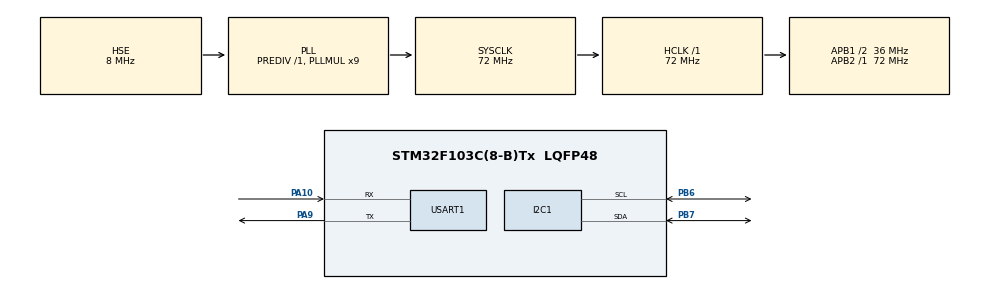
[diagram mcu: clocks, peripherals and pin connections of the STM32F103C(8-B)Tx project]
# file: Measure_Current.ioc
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Dma.I2C1_RX.0.Direction=DMA_PERIPH_TO_MEMORY
Dma.I2C1_RX.0.Instance=DMA1_Channel7
Dma.I2C1_RX.0.MemDataAlignment=DMA_MDATAALIGN_BYTE
Dma.I2C1_RX.0.MemInc=DMA_MINC_ENABLE
Dma.I2C1_RX.0.Mode=DMA_NORMAL
Dma.I2C1_RX.0.PeriphDataAlignment=DMA_PDATAALIGN_BYTE
Dma.I2C1_RX.0.PeriphInc=DMA_PINC_DISABLE
Dma.I2C1_RX.0.Priority=DMA_PRIORITY_LOW
Dma.I2C1_TX.1.Direction=DMA_MEMORY_TO_PERIPH
Dma.I2C1_TX.1.Instance=DMA1_Channel6
Dma.I2C1_TX.1.MemDataAlignment=DMA_MDATAALIGN_BYTE
Dma.I2C1_TX.1.MemInc=DMA_MINC_ENABLE
Dma.I2C1_TX.1.Mode=DMA_NORMAL
Dma.I2C1_TX.1.PeriphDataAlignment=DMA_PDATAALIGN_BYTE
Dma.I2C1_TX.1.PeriphInc=DMA_PINC_DISABLE
Dma.I2C1_TX.1.Priority=DMA_PRIORITY_LOW
Dma.Request0=I2C1_RX
Dma.Request1=I2C1_TX
Dma.Request2=USART1_TX
Dma.Request3=USART1_RX
Dma.USART1_RX.3.Direction=DMA_PERIPH_TO_MEMORY
Dma.USART1_RX.3.Instance=DMA1_Channel5
Dma.USART1_RX.3.MemDataAlignment=DMA_MDATAALIGN_BYTE
Dma.USART1_RX.3.MemInc=DMA_MINC_ENABLE
Dma.USART1_RX.3.Mode=DMA_NORMAL
Dma.USART1_RX.3.PeriphDataAlignment=DMA_PDATAALIGN_BYTE
Dma.USART1_RX.3.PeriphInc=DMA_PINC_DISABLE
Dma.USART1_RX.3.Priority=DMA_PRIORITY_LOW
Dma.USART1_TX.2.Direction=DMA_MEMORY_TO_PERIPH
Dma.USART1_TX.2.Instance=DMA1_Channel4
Dma.USART1_TX.2.MemDataAlignment=DMA_MDATAALIGN_BYTE
Dma.USART1_TX.2.MemInc=DMA_MINC_ENABLE
Dma.USART1_TX.2.Mode=DMA_NORMAL
Dma.USART1_TX.2.PeriphDataAlignment=DMA_PDATAALIGN_BYTE
Dma.USART1_TX.2.PeriphInc=DMA_PINC_DISABLE
Dma.USART1_TX.2.Priority=DMA_PRIORITY_LOW
I2C1.I2C_Mode=I2C_Fast
Mcu.Family=STM32F1
Mcu.Name=STM32F103C(8-B)Tx
Mcu.Package=LQFP48
NVIC.DMA1_Channel4_IRQn=true\:0\:0\:false\:false\:true\:false\:true\:true
NVIC.DMA1_Channel5_IRQn=true\:0\:0\:false\:false\:true\:false\:true\:true
NVIC.DMA1_Channel6_IRQn=true\:0\:0\:false\:false\:true\:false\:true\:true
NVIC.DMA1_Channel7_IRQn=true\:0\:0\:false\:false\:true\:false\:true\:true
NVIC.I2C1_ER_IRQn=true\:0\:0\:false\:false\:true\:true\:true\:true
NVIC.I2C1_EV_IRQn=true\:0\:0\:false\:false\:true\:true\:true\:true
NVIC.PriorityGroup=NVIC_PRIORITYGROUP_4
NVIC.USART1_IRQn=true\:0\:0\:false\:false\:true\:true\:true\:true
PA10.Mode=Asynchronous
PA10.Signal=USART1_RX
PA13.Mode=Serial_Wire
PA13.Signal=SYS_JTMS-SWDIO
PA14.Mode=Serial_Wire
PA14.Signal=SYS_JTCK-SWCLK
PA9.Mode=Asynchronous
PA9.Signal=USART1_TX
PB6.Mode=I2C
PB6.Signal=I2C1_SCL
PB7.Mode=I2C
PB7.Signal=I2C1_SDA
PD0-OSC_IN.Mode=HSE-External-Oscillator
PD0-OSC_IN.Signal=RCC_OSC_IN
PD1-OSC_OUT.Mode=HSE-External-Oscillator
PD1-OSC_OUT.Signal=RCC_OSC_OUT
ProjectManager.HeapSize=0x200
ProjectManager.StackSize=0x400
ProjectManager.TargetToolchain=STM32CubeIDE
RCC.AHBFreq_Value=72000000
RCC.APB1CLKDivider=RCC_HCLK_DIV2
RCC.APB1Freq_Value=36000000
RCC.APB1TimFreq_Value=72000000
RCC.APB2Freq_Value=72000000
RCC.APB2TimFreq_Value=72000000
RCC.HCLKFreq_Value=72000000
RCC.PLLMUL=RCC_PLL_MUL9
RCC.PLLSourceVirtual=RCC_PLLSOURCE_HSE
RCC.SYSCLKFreq_VALUE=72000000
RCC.SYSCLKSource=RCC_SYSCLKSOURCE_PLLCLK
RCC.USBFreq_Value=72000000
USART1.VirtualMode=VM_ASYNC
VP_TIM1_VS_ClockSourceINT.Mode=Internal
board=custom

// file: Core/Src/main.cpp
/* USER CODE BEGIN Header */
/**
  ******************************************************************************
  * @file           : main.c
  * @brief          : Main program body
  ******************************************************************************
  * @attention
  *
  * Copyright (c) 2023 STMicroelectronics.
  * All rights reserved.
  *
  * This software is licensed under terms that can be found in the LICENSE file
  * in the root directory of this software component.
  * If no LICENSE file comes with this software, it is provided AS-IS.
  *
  ******************************************************************************
  */
/* USER CODE END Header */
#include "main.h"

/* USER CODE BEGIN Includes */

#include "ina219.h"
#include "terminal.h"

/* USER CODE END Includes */

I2C_HandleTypeDef hi2c1;
DMA_HandleTypeDef hdma_i2c1_rx;
DMA_HandleTypeDef hdma_i2c1_tx;

TIM_HandleTypeDef htim1;

UART_HandleTypeDef huart1;
DMA_HandleTypeDef hdma_usart1_tx;
DMA_HandleTypeDef hdma_usart1_rx;

/* USER CODE BEGIN PV */

Terminal Terminal(&huart1);

Ina219 Ina219(&hi2c1, &htim1);

uint8_t huart1_flag_idle = RESET;

/* USER CODE END PV */

void SystemClock_Config(void);
static void MX_GPIO_Init(void);
static void MX_DMA_Init(void);
static void MX_I2C1_Init(void);
static void MX_USART1_UART_Init(void);
static void MX_TIM1_Init(void);
/* USER CODE BEGIN PFP */

void checkTerminal();
void checkINA219();

/* USER CODE END PFP */

int main(void)
{

  /* MCU Configuration--------------------------------------------------------*/

  /* Reset of all peripherals, Initializes the Flash interface and the Systick. */
  HAL_Init();

  /* Configure the system clock */
  SystemClock_Config();

  /* Initialize all configured peripherals */
  MX_GPIO_Init();
  MX_DMA_Init();
  MX_I2C1_Init();
  MX_USART1_UART_Init();
  MX_TIM1_Init();

  /* Infinite loop */
  while (1)
  {

    /* USER CODE BEGIN 3 */
	  Ina219.run_DMA(INA219_CONFIG_BVOLTAGERANGE_16V,
			  INA219_CONFIG_GAIN_8_320MV,
			  INA219_CONFIG_BADCRES_12BIT_2S_1060US,
			  INA219_CONFIG_SADCRES_12BIT_2S_1060US,
			  INA219_CONFIG_MODE_SANDBVOLT_CONTINUOUS,
			  0x1062);
	  Ina219.IRQHandler();

	  Terminal.run_vec();

	  checkINA219();
	  checkTerminal();

  }
  /* USER CODE END 3 */
}

void SystemClock_Config(void)
{
  RCC_OscInitTypeDef RCC_OscInitStruct = {0};
  RCC_ClkInitTypeDef RCC_ClkInitStruct = {0};

  /** Initializes the RCC Oscillators according to the specified parameters
  * in the RCC_OscInitTypeDef structure.
  */
  RCC_OscInitStruct.OscillatorType = RCC_OSCILLATORTYPE_HSE;
  RCC_OscInitStruct.HSEState = RCC_HSE_ON;
  RCC_OscInitStruct.HSEPredivValue = RCC_HSE_PREDIV_DIV1;
  RCC_OscInitStruct.HSIState = RCC_HSI_ON;
  RCC_OscInitStruct.PLL.PLLState = RCC_PLL_ON;
  RCC_OscInitStruct.PLL.PLLSource = RCC_PLLSOURCE_HSE;
  RCC_OscInitStruct.PLL.PLLMUL = RCC_PLL_MUL9;
  if (HAL_RCC_OscConfig(&RCC_OscInitStruct) != HAL_OK)
  {
    Error_Handler();
  }

  /** Initializes the CPU, AHB and APB buses clocks
  */
  RCC_ClkInitStruct.ClockType = RCC_CLOCKTYPE_HCLK|RCC_CLOCKTYPE_SYSCLK
                              |RCC_CLOCKTYPE_PCLK1|RCC_CLOCKTYPE_PCLK2;
  RCC_ClkInitStruct.SYSCLKSource = RCC_SYSCLKSOURCE_PLLCLK;
  RCC_ClkInitStruct.AHBCLKDivider = RCC_SYSCLK_DIV1;
  RCC_ClkInitStruct.APB1CLKDivider = RCC_HCLK_DIV2;
  RCC_ClkInitStruct.APB2CLKDivider = RCC_HCLK_DIV1;

  if (HAL_RCC_ClockConfig(&RCC_ClkInitStruct, FLASH_LATENCY_2) != HAL_OK)
  {
    Error_Handler();
  }
}

static void MX_I2C1_Init(void)
{

  hi2c1.Instance = I2C1;
  hi2c1.Init.ClockSpeed = 400000;
  hi2c1.Init.DutyCycle = I2C_DUTYCYCLE_2;
  hi2c1.Init.OwnAddress1 = 0;
  hi2c1.Init.AddressingMode = I2C_ADDRESSINGMODE_7BIT;
  hi2c1.Init.DualAddressMode = I2C_DUALADDRESS_DISABLE;
  hi2c1.Init.OwnAddress2 = 0;
  hi2c1.Init.GeneralCallMode = I2C_GENERALCALL_DISABLE;
  hi2c1.Init.NoStretchMode = I2C_NOSTRETCH_DISABLE;
  if (HAL_I2C_Init(&hi2c1) != HAL_OK)
  {
    Error_Handler();
  }

}

static void MX_TIM1_Init(void)
{

  TIM_ClockConfigTypeDef sClockSourceConfig = {0};
  TIM_MasterConfigTypeDef sMasterConfig = {0};

  htim1.Instance = TIM1;
  htim1.Init.Prescaler = 3;
  htim1.Init.CounterMode = TIM_COUNTERMODE_UP;
  htim1.Init.Period = 65535;
  htim1.Init.ClockDivision = TIM_CLOCKDIVISION_DIV1;
  htim1.Init.RepetitionCounter = 0;
  htim1.Init.AutoReloadPreload = TIM_AUTORELOAD_PRELOAD_DISABLE;
  if (HAL_TIM_Base_Init(&htim1) != HAL_OK)
  {
    Error_Handler();
  }
  sClockSourceConfig.ClockSource = TIM_CLOCKSOURCE_INTERNAL;
  if (HAL_TIM_ConfigClockSource(&htim1, &sClockSourceConfig) != HAL_OK)
  {
    Error_Handler();
  }
  sMasterConfig.MasterOutputTrigger = TIM_TRGO_RESET;
  sMasterConfig.MasterSlaveMode = TIM_MASTERSLAVEMODE_DISABLE;
  if (HAL_TIMEx_MasterConfigSynchronization(&htim1, &sMasterConfig) != HAL_OK)
  {
    Error_Handler();
  }
  /* USER CODE BEGIN TIM1_Init 2 */

  HAL_TIM_Base_Start(&htim1);

  /* USER CODE END TIM1_Init 2 */

}

static void MX_USART1_UART_Init(void)
{

  huart1.Instance = USART1;
  huart1.Init.BaudRate = 115200;
  huart1.Init.WordLength = UART_WORDLENGTH_8B;
  huart1.Init.StopBits = UART_STOPBITS_1;
  huart1.Init.Parity = UART_PARITY_NONE;
  huart1.Init.Mode = UART_MODE_TX_RX;
  huart1.Init.HwFlowCtl = UART_HWCONTROL_NONE;
  huart1.Init.OverSampling = UART_OVERSAMPLING_16;
  if (HAL_UART_Init(&huart1) != HAL_OK)
  {
    Error_Handler();
  }

}

static void MX_DMA_Init(void)
{

  /* DMA controller clock enable */
  __HAL_RCC_DMA1_CLK_ENABLE();

  /* DMA interrupt init */
  /* DMA1_Channel4_IRQn interrupt configuration */
  HAL_NVIC_SetPriority(DMA1_Channel4_IRQn, 0, 0);
  HAL_NVIC_EnableIRQ(DMA1_Channel4_IRQn);
  /* DMA1_Channel5_IRQn interrupt configuration */
  HAL_NVIC_SetPriority(DMA1_Channel5_IRQn, 0, 0);
  HAL_NVIC_EnableIRQ(DMA1_Channel5_IRQn);
  /* DMA1_Channel6_IRQn interrupt configuration */
  HAL_NVIC_SetPriority(DMA1_Channel6_IRQn, 0, 0);
  HAL_NVIC_EnableIRQ(DMA1_Channel6_IRQn);
  /* DMA1_Channel7_IRQn interrupt configuration */
  HAL_NVIC_SetPriority(DMA1_Channel7_IRQn, 0, 0);
  HAL_NVIC_EnableIRQ(DMA1_Channel7_IRQn);

}

static void MX_GPIO_Init(void)
{

  /* GPIO Ports Clock Enable */
  __HAL_RCC_GPIOD_CLK_ENABLE();
  __HAL_RCC_GPIOA_CLK_ENABLE();
  __HAL_RCC_GPIOB_CLK_ENABLE();

}

/* USER CODE BEGIN 4 */

void checkTerminal() {
	if ((*Terminal.getRxListData()).size() < 1) return;
	Ina219.setListData(&(*Terminal.getRxListData())[0]);
	(*Terminal.getRxListData()).pop_front();
}
void checkINA219(){
	if ((*Ina219.getListData()).size() < 1) return;
	Terminal.setListData(&(*Ina219.getListData())[0]);
	(*Ina219.getListData()).pop_front();
}

void HAL_I2C_MemTxCpltCallback(I2C_HandleTypeDef *hi2c) {
	Ina219.memTxCpltCallback(hi2c);
}

void HAL_I2C_ErrorCallback(I2C_HandleTypeDef *hi2c) {
	Ina219.errorCallback(hi2c);
}

void HAL_UART_TxCpltCallback(UART_HandleTypeDef *huart) {
	Terminal.TxCpltCallback(huart);
}

void HAL_UARTEx_RxEventCallback(UART_HandleTypeDef *huart, uint16_t Size) {
	Terminal.RxEventCallback(huart, Size, &huart1_flag_idle);
}

/* USER CODE END 4 */

void Error_Handler(void)
{
  __disable_irq();
  while (1)
  {
  }
}
